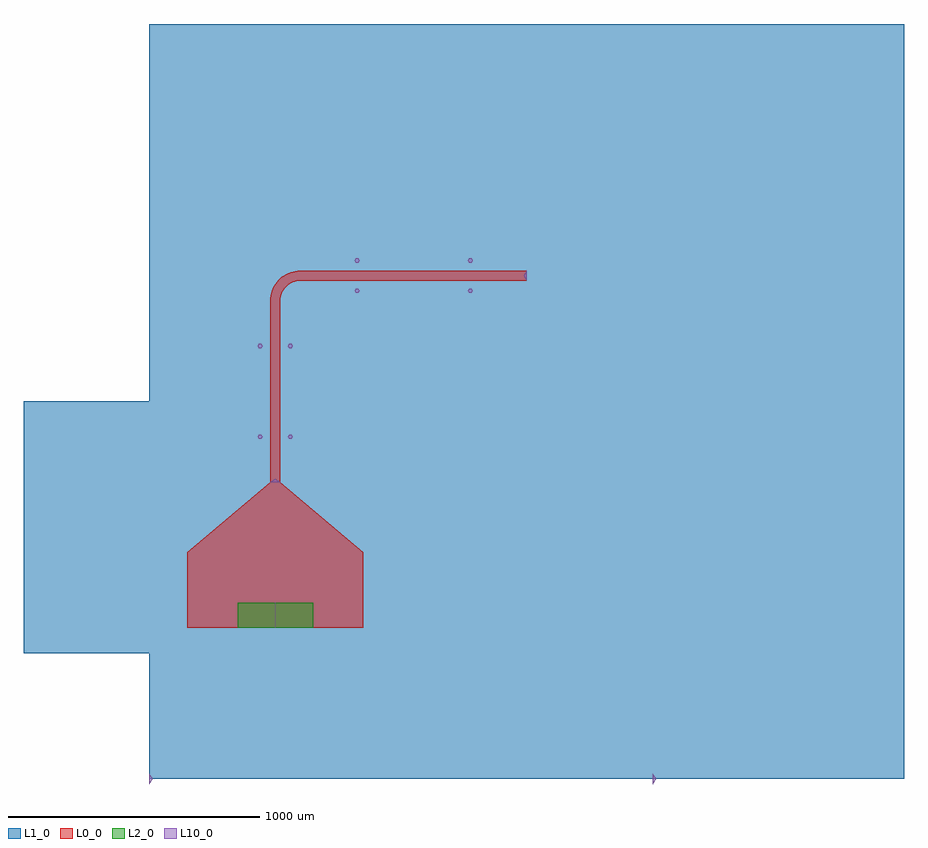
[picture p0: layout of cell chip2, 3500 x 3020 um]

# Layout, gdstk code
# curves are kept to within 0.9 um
import gdstk
lib = gdstk.Library(unit=1e-6, precision=1e-09)
def R(c, l, rs):  # rectangles x0, y0, x1, y1
    for r in rs: c.add(gdstk.rectangle(r[:2], r[2:], *l))
def P(c, l, *ps):  # polygons
    for p in ps: c.add(gdstk.Polygon(p, *l))
L0_0 = (0, 0)
L1_0 = (1, 0)
L2_0 = (2, 0)
L10_0 = (10, 0)

chip2 = lib.new_cell('chip2')
P(chip2, L0_0, [(150,600),(150,900),(480,1180),(520,1180),(850,900),(850,600)],
  [(480,1180),(520,1180),(520,1900),(521.537,1915.607),(529.446,1937.712),(538.159,1950.751),(549.249,1961.841),(562.288,1970.554),(576.777,1976.555),(600,1980),(1500,1980),(1500,2020),(600,2020),(580.249,2018.363),(561.036,2013.498),(542.886,2005.537),(526.294,1994.697),(505.303,1973.706),(494.463,1957.114),(486.502,1938.964),(480.41,1909.91)])
R(chip2, L1_0, [(0,0,3000,3000), (-500,500,500,1500), (500,1000,1500,2000)])
P(chip2, L1_0, [(350,700),(350,900),(490,1180),(510,1180),(650,900),(650,700)],
  [(490,1180),(510,1180),(510.384,1908.304),(516.077,1932.512),(523.48,1947.379),(533.489,1960.633),(545.763,1971.822),(567.488,1983.923),(583.463,1988.468),(600,1990),(1500,1990),(1500,2010),(600,2010),(580.899,2008.329),(562.378,2003.366),(545,1995.263),(529.293,1984.265),(515.735,1970.707),(500.306,1946.488),(493.748,1928.47),(490.419,1909.587)])
R(chip2, L2_0, [(350,600,650,700)])
P(chip2, L10_0, [(0,10),(6.667,0),(0,-10)],
  [(0,20),(13.333,0),(0,-20)],
  [(2000,10),(2006.667,0),(2000,-10)],
  [(2000,20),(2013.333,0),(2000,-20)],
  [(490,1180),(500,1186.667),(510,1180)],
  [(480,1180),(500,1193.333),(520,1180)],
  [(1500,1990),(1493.333,2000),(1500,2010)],
  [(1500,1980),(1486.667,2000),(1500,2020)],
  [(450,1360),(445,1368.66),(435,1368.66),(430,1360),(435,1351.34),(445,1351.34)],
  [(570,1360),(565,1368.66),(555,1368.66),(550,1360),(555,1351.34),(565,1351.34)],
  [(450,1720),(445,1728.66),(435,1728.66),(430,1720),(435,1711.34),(445,1711.34)],
  [(570,1720),(565,1728.66),(555,1728.66),(550,1720),(555,1711.34),(565,1711.34)],
  [(835,2060),(830,2068.66),(820,2068.66),(815,2060),(820,2051.34),(830,2051.34)],
  [(835,1940),(830,1948.66),(820,1948.66),(815,1940),(820,1931.34),(830,1931.34)],
  [(1285,2060),(1280,2068.66),(1270,2068.66),(1265,2060),(1270,2051.34),(1280,2051.34)],
  [(1285,1940),(1280,1948.66),(1270,1948.66),(1265,1940),(1270,1931.34),(1280,1931.34)],
  [(500,600),(500,600),(500,700),(500,700)])

lib.write_gds('chip2.gds')
